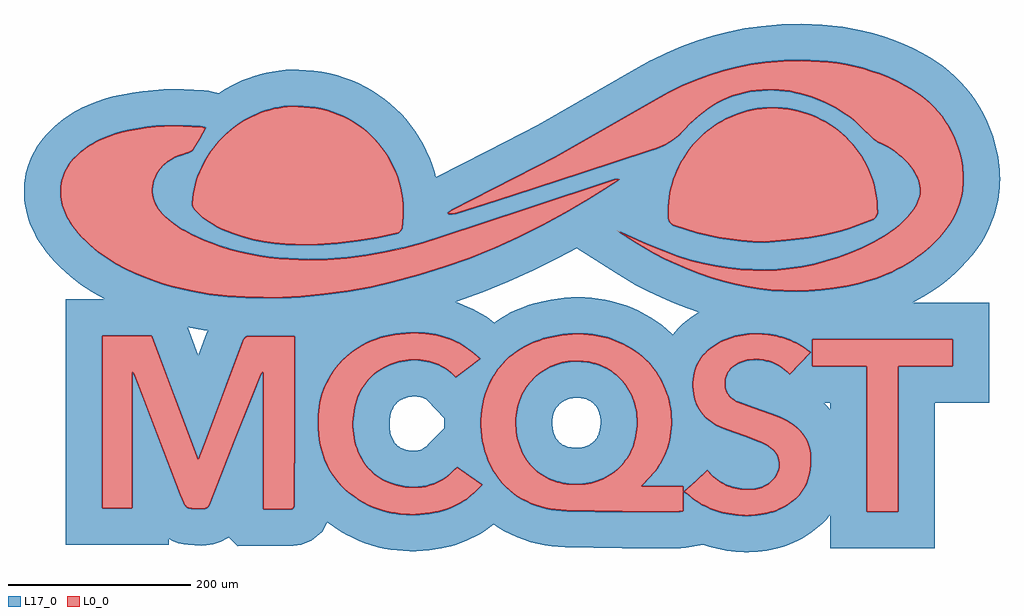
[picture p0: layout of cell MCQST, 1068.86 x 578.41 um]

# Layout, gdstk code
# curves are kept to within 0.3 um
import gdstk
lib = gdstk.Library(unit=1e-6, precision=1e-09)
def P(c, l, *ps):  # polygons
    for p in ps: c.add(gdstk.Polygon(p, *l))
L0_0 = (0, 0)
L17_0 = (17, 0)

mcqst = lib.new_cell('MCQST')
P(mcqst, L0_0, [(388.625,-245.25),(388.625,-85.7),(328.925,-85.7),(328.925,-56.3),(482.725,-56.3),(482.725,-85.45),(423.025,-85.45),(423.025,-245.25)],
  [(-244.875,-242.5),(-272.475,-242.4),(-272.475,-92.5),(-273.625,-92),(-276.275,-97.65),(-331.025,-236.85),(-332.825,-239.55),(-335.175,-241.2),(-340.325,-242),(-350.325,-241.6),(-353.575,-241),(-357.075,-239.05),(-359.675,-235.3),(-413.425,-95),(-416.125,-91.75),(-416.125,-241.15),(-448.725,-241.15),(-448.725,-52.5),(-394.375,-52.5),(-343.725,-188.1),(-293.475,-55.65),(-291.875,-53.95),(-288.425,-52.9),(-237.925,-52.9),(-238.275,-237.3),(-238.875,-240.05),(-240.325,-241.8)],
  [(182.775,-244.95),(121.325,-244.8),(59.875,-243.8),(48.175,-242.9),(31.475,-239.65),(20.975,-236.05),(11.075,-231.25),(6.375,-228.4),(-2.525,-221.65),(-6.725,-217.8),(-14.425,-208.95),(-17.975,-204),(-23.425,-194.6),(-25.775,-189.6),(-29.625,-179.05),(-32.375,-167.95),(-33.925,-156.5),(-34.225,-144.85),(-33.275,-133.1),(-30.975,-121.55),(-29.325,-115.85),(-24.925,-104.8),(-22.175,-99.45),(-17.375,-91.75),(-11.725,-84.45),(-7.775,-80.15),(71.625,-80.15),(64.575,-80.45),(57.775,-81.4),(51.225,-83),(44.975,-85.15),(39.075,-87.85),(33.525,-91.1),(28.375,-94.85),(23.625,-99.05),(15.475,-108.8),(10.725,-117.15),(8.225,-123.15),(6.275,-129.45),(4.975,-136.05),(4.275,-142.95),(4.275,-150.25),(6.025,-164.55),(10.125,-177.4),(14.575,-186),(18.175,-191.2),(22.275,-195.95),(26.825,-200.25),(31.825,-204),(37.275,-207.3),(43.075,-210),(49.275,-212.15),(55.825,-213.75),(62.725,-214.7),(69.925,-215.05),(77.125,-214.75),(87.375,-213.1),(93.775,-211.25),(99.875,-208.85),(108.275,-204.15),(115.775,-198.35),(122.275,-191.45),(127.725,-183.55),(130.675,-177.75),(133.125,-171.6),(135.725,-161.65),(136.725,-154.65),(137.025,-143.75),(135.875,-133.4),(133.375,-123.65),(129.625,-114.7),(126.425,-109.15),(122.775,-104.05),(118.625,-99.35),(111.575,-93.1),(106.375,-89.6),(100.775,-86.6),(94.825,-84.1),(88.575,-82.2),(81.975,-80.9),(71.625,-80.15),(-7.775,-80.15),(-0.325,-73.45),(7.725,-67.65),(16.675,-62.55),(23.225,-59.6),(30.175,-56.95),(41.375,-53.75),(55.225,-51.25),(66.675,-50.2),(77.975,-50.15),(89.075,-51.15),(105.325,-54.75),(110.625,-56.5),(121.025,-60.95),(131.175,-66.6),(139.725,-72.55),(146.425,-78.4),(152.425,-84.8),(160.175,-95.35),(164.475,-102.95),(168.025,-110.9),(171.975,-123.35),(174.275,-136.2),(174.775,-144.85),(174.525,-153.55),(173.475,-162.2),(171.625,-170.7),(167.225,-183.1),(163.225,-191),(158.825,-197.8),(154.275,-203.5),(141.625,-217.35),(187.325,-217.35),(187.325,-244.35)],
  [(255.275,-249.2),(244.575,-248.45),(234.025,-246.7),(227.175,-244.95),(217.275,-241.5),(205.125,-235.4),(187.975,-223.1),(213.975,-199.8),(219.975,-206.05),(226.525,-211.2),(233.575,-215.25),(241.175,-218.2),(249.325,-220),(256.725,-220.65),(265.575,-220.2),(273.975,-217.95),(277.925,-216.05),(283.475,-212.05),(287.125,-208.25),(290.025,-203.7),(291.925,-198.8),(292.675,-193.85),(292.325,-188.9),(290.875,-184.15),(289.775,-181.9),(286.675,-177.75),(282.425,-174.25),(279.375,-172.4),(269.475,-167.65),(227.425,-151.9),(217.425,-146.05),(211.875,-141.35),(207.175,-136),(205.225,-133.05),(203.425,-129.95),(200.675,-123.3),(199.625,-119.65),(198.375,-111.9),(198.375,-99.9),(200.625,-89.15),(204.975,-79.6),(211.375,-71.25),(216.775,-66.35),(223.025,-61.95),(229.225,-58.5),(235.025,-56),(241.025,-53.9),(250.425,-51.6),(256.875,-50.65),(266.725,-50.05),(279.925,-50.8),(292.875,-53.2),(305.225,-57.35),(316.625,-63.1),(326.975,-70.2),(304.325,-94.35),(297.325,-88.3),(291.375,-84.45),(284.925,-81.5),(278.075,-79.45),(271.075,-78.4),(260.525,-78.7),(253.825,-80.15),(247.525,-82.65),(240.425,-87.5),(237.275,-91.1),(235.625,-93.85),(233.975,-98.45),(233.425,-101.95),(233.375,-105.6),(234.175,-110.7),(235.975,-115.15),(237.725,-117.75),(241.075,-121.1),(243.775,-122.95),(265.025,-131.35),(294.725,-142.1),(304.525,-147.45),(312.975,-153.85),(317.675,-158.8),(321.525,-164.35),(323.125,-167.4),(325.575,-174.05),(326.425,-177.65),(327.275,-185.5),(326.725,-198.35),(324.025,-210.05),(318.975,-220.45),(314.325,-226.7),(308.625,-232.3),(305.325,-234.9),(295.125,-241.1),(282.775,-245.8),(269.325,-248.5)],
  [(-111.325,-248.15),(-121.875,-247.55),(-132.225,-246.05),(-142.425,-243.5),(-152.475,-239.85),(-162.275,-235.15),(-172.375,-228.85),(-177.325,-225.2),(-186.175,-217.25),(-193.725,-208.5),(-199.975,-199),(-204.925,-188.7),(-206.925,-183.3),(-209.975,-171.95),(-211.825,-159.95),(-212.425,-148.8),(-212.175,-139.2),(-211.175,-129.85),(-209.325,-120.8),(-206.625,-112),(-203.025,-103.5),(-198.425,-95.3),(-192.875,-87.45),(-185.775,-79.35),(-177.375,-71.7),(-172.975,-68.35),(-163.725,-62.5),(-154.025,-57.8),(-143.825,-54.15),(-133.175,-51.55),(-122.125,-49.85),(-110.725,-49.1),(-94.725,-49.6),(-83.125,-51.3),(-75.525,-53.15),(-68.125,-55.65),(-60.875,-58.75),(-50.375,-64.65),(-34.525,-77.5),(-61.425,-98),(-68.825,-91),(-74.375,-87.2),(-80.375,-84.1),(-89.925,-80.8),(-96.575,-79.45),(-103.375,-78.8),(-113.725,-79.05),(-120.575,-80.1),(-127.325,-81.8),(-133.875,-84.15),(-140.175,-87.15),(-148.975,-92.85),(-156.775,-100),(-163.475,-108.85),(-168.675,-119.3),(-172.175,-130.85),(-173.925,-143.1),(-173.925,-155.6),(-172.025,-168),(-169.675,-175.95),(-166.425,-183.6),(-162.325,-190.75),(-159.925,-194.15),(-154.375,-200.35),(-147.925,-205.8),(-140.525,-210.35),(-132.075,-213.9),(-127.075,-215.45),(-117.275,-217.55),(-107.675,-218.3),(-98.375,-217.7),(-89.325,-215.65),(-80.575,-212.15),(-76.325,-209.8),(-68.125,-203.95),(-60.225,-196.45),(-32.775,-215.3),(-40.975,-223.85),(-49.775,-231.1),(-59.325,-237.05),(-66.075,-240.25),(-76.825,-244),(-84.425,-245.7),(-100.625,-247.8)],
  [(-271.725,-10.75),(-291.875,-10.3),(-311.925,-9),(-331.825,-6.65),(-351.625,-3.25),(-361.525,-1.05),(-371.325,1.45),(-390.875,7.45),(-412.975,16.1),(-423.625,21.15),(-438.975,29.75),(-448.775,36.3),(-458.125,43.5),(-471.275,55.75),(-479.025,64.75),(-484.025,72),(-488.225,79.65),(-491.425,87.85),(-493.575,96.65),(-494.425,104.05),(-494.225,111.1),(-492.225,121),(-488.275,130.15),(-484.625,135.85),(-480.275,141.3),(-472.225,149.15),(-462.675,156.2),(-455.975,160.1),(-448.975,163.5),(-434.375,168.85),(-426.825,170.95),(-409.425,174.55),(-389.975,176.9),(-380.175,177.5),(-360.625,177.6),(-340.975,176.6),(-335.175,175.35),(-342.025,163.3),(-349.025,151.85),(-350.425,150.3),(-354.575,148.1),(-365.125,144.75),(-372.825,141.15),(-381.325,134.8),(-387.775,126.95),(-389.525,123.95),(-392.075,117.8),(-393.525,111.45),(-393.775,108.3),(-393.425,101.95),(-392.775,98.8),(-391.875,95.7),(-389.175,89.75),(-387.425,86.9),(-382.975,81.45),(-374.175,73.45),(-367.925,68.75),(-358.075,62.5),(-351.175,58.8),(-336.975,52.35),(-319.325,45.75),(-298.325,39.75),(-276.975,35.5),(-255.275,32.7),(-244.325,31.8),(-222.875,31),(-201.575,31.45),(-180.525,33.1),(-159.575,35.85),(-138.825,39.6),(-118.175,44.3),(-97.675,49.8),(-77.275,56.05),(111.475,118.45),(114.475,119.25),(117.925,119.15),(83.675,97.2),(58.475,82.35),(32.875,68.5),(6.825,55.6),(-19.625,43.7),(-46.475,32.85),(-73.825,23.05),(-101.575,14.35),(-129.825,6.75),(-154.925,1.05),(-180.125,-3.6),(-205.575,-7.1),(-231.225,-9.4),(-251.525,-10.4)],
  [(276.025,50.05),(251.025,51.75),(226.375,55.25),(202.125,60.7),(190.125,64.2),(178.275,68.2),(174.925,69.8),(172.775,71.9),(171.525,74.7),(170.925,83.7),(172.075,99.35),(175.275,114.3),(178.525,123.9),(182.525,133.05),(187.325,141.8),(195.875,154),(202.425,161.5),(213.325,171.6),(221.275,177.5),(229.725,182.75),(238.625,187.25),(252.675,192.55),(262.525,195),(274.025,196.8),(285.475,197.4),(296.725,196.9),(307.775,195.3),(318.525,192.65),(333.925,186.85),(343.625,181.8),(352.825,175.9),(361.425,169.1),(369.325,161.5),(379.825,148.7),(388.425,134.35),(394.925,118.55),(397.975,107.25),(399.075,101.15),(400.225,88.8),(400.475,82.55),(400.075,80.6),(398.325,77.55),(396.725,76),(387.375,71.85),(369.975,65.45),(352.175,60.35),(343.175,58.25),(324.875,55.05)],
  [(-224.925,47.3),(-248.575,48.05),(-260.275,49.15),(-271.875,50.85),(-283.425,53.1),(-294.875,56.05),(-306.275,59.7),(-323.175,67.1),(-333.625,73.45),(-340.825,79.15),(-347.475,85.75),(-348.625,87.3),(-350.025,91.15),(-349.725,98.1),(-348.075,108.15),(-345.525,117.95),(-342.075,127.45),(-335.325,141),(-329.875,149.5),(-323.725,157.5),(-316.925,164.95),(-309.525,171.85),(-297.425,180.9),(-288.775,186.05),(-279.725,190.45),(-265.425,195.45),(-255.525,197.65),(-245.425,198.9),(-227.925,198.75),(-221.375,198.2),(-214.975,197.35),(-202.525,194.55),(-190.625,190.5),(-179.425,185.2),(-168.925,178.85),(-163.975,175.25),(-154.725,167.35),(-146.325,158.55),(-138.925,148.9),(-132.575,138.5),(-127.325,127.45),(-123.275,115.85),(-120.475,103.75),(-119.575,97.55),(-118.825,84.85),(-119.475,71.9),(-120.375,65.3),(-121.675,62.8),(-124.075,60.6),(-125.775,59.85),(-147.375,55.2),(-169.075,51.55),(-190.975,48.95),(-213.025,47.55)],
  [(311.125,-3.35),(297.575,-3.1),(270.825,-0.75),(257.575,1.35),(244.425,4.05),(218.475,11.1),(192.875,20.35),(167.675,31.75),(155.225,38.25),(134.925,50.25),(115.325,62.6),(148.075,47.95),(181.425,34.8),(195.175,30.6),(208.925,27.1),(222.675,24.25),(236.325,22.1),(249.975,20.6),(263.525,19.8),(277.075,19.65),(290.575,20.25),(304.025,21.5),(317.425,23.5),(330.775,26.2),(344.025,29.6),(357.275,33.75),(370.425,38.6),(383.525,44.2),(396.575,50.6),(408.125,57.15),(418.975,64.7),(428.975,73.4),(437.875,83.4),(443.325,91.95),(446.425,100.4),(447.125,106.05),(446.175,114.65),(442.825,123.4),(437.425,132.1),(431.225,139.3),(424.325,145.65),(411.375,154.45),(397.625,161.75),(375.275,182.95),(364.625,190.95),(349.175,200.15),(338.525,205.25),(321.975,211.25),(310.575,214.1),(292.875,216.6),(280.675,217),(273.875,216.75),(267.175,216.15),(254.275,213.95),(242.025,210.4),(230.325,205.55),(219.225,199.5),(213.925,196),(203.725,188.15),(198.875,183.8),(181.375,166.15),(172.475,159.8),(162.775,154.8),(152.025,150.85),(-29.525,91.5),(-62.825,81.5),(-69.525,80.55),(-70.175,82.35),(-65.275,85.75),(47.725,143.55),(157.775,206.7),(171.875,214.4),(186.175,221.4),(200.725,227.7),(215.525,233.2),(230.575,237.95),(245.925,241.85),(261.575,244.9),(277.475,247.05),(297.425,248.7),(317.225,249.2),(336.775,248.5),(356.175,246.45),(375.275,242.9),(384.725,240.5),(403.425,234.4),(421.775,226.45),(430.825,221.75),(442.525,214.6),(453.125,206.6),(462.625,197.75),(470.975,188),(478.125,177.4),(484.075,165.9),(488.825,153.45),(492.275,140.15),(493.875,129.65),(494.425,119.55),(493.475,106.6),(491.575,97.35),(488.725,88.35),(483.525,76.95),(476.725,66.1),(468.425,55.75),(458.775,46),(448.725,37.45),(438.125,29.9),(427.125,23.25),(415.675,17.5),(403.825,12.55),(391.675,8.4),(379.175,4.9),(352.375,-0.25),(324.775,-2.95)])
P(mcqst, L17_0, [(69.925,-215.05),(62.725,-214.7),(55.825,-213.75),(49.275,-212.15),(43.075,-210),(37.275,-207.3),(31.825,-204),(26.825,-200.25),(22.275,-195.95),(18.175,-191.2),(14.575,-186),(11.475,-180.35),(8.875,-174.35),(6.825,-167.9),(5.375,-161.1),(4.475,-153.95),(4.175,-146.45),(4.525,-139.45),(5.575,-132.75),(7.175,-126.25),(9.402,-120.158),(71.331,-120.158),(63.947,-120.974),(57.346,-123.446),(52.443,-126.867),(48.084,-132.082),(45.395,-138.098),(44.235,-144.932),(44.856,-154.613),(46.436,-160.521),(49.212,-165.863),(52.793,-169.795),(58.219,-172.961),(63.456,-174.464),(71.887,-175.02),(78.227,-174.147),(84.157,-171.987),(89.604,-168.032),(93.196,-163.317),(95.714,-157.168),(96.901,-150.743),(96.939,-143.967),(95.812,-137.668),(93.423,-131.893),(89.844,-127.151),(85.511,-123.739),(78.874,-121.029),(73.117,-120.209),(9.402,-120.158),(13.775,-111.5),(19.325,-103.75),(25.925,-96.9),(33.525,-91.1),(41.975,-86.45),(51.225,-83),(61.125,-80.85),(71.625,-80.15),(78.575,-80.5),(85.325,-81.5),(97.875,-85.25),(103.625,-88),(109.025,-91.3),(114.025,-95.05),(118.625,-99.35),(122.775,-104.05),(126.425,-109.15),(129.625,-114.7),(132.225,-120.6),(134.325,-126.85),(135.875,-133.4),(136.775,-140.25),(137.075,-147.35),(136.725,-154.65),(135.725,-161.65),(134.125,-168.35),(131.975,-174.7),(129.275,-180.7),(126.025,-186.25),(122.275,-191.45),(118.075,-196.15),(113.375,-200.4),(108.275,-204.15),(102.775,-207.4),(96.875,-210.15),(90.625,-212.25),(84.025,-213.8),(77.125,-214.75)],
  [(254.43,-289.2),(240.088,-288.202),(230.269,-286.741),(220.67,-284.664),(209.275,-281.189),(190.15,-284.444),(184.541,-284.954),(120.951,-284.8),(58.533,-283.784),(43.311,-282.61),(35.862,-281.556),(20.712,-278.192),(5.729,-273.052),(-8.549,-266.13),(-20.112,-258.674),(-31.051,-266.73),(-40.577,-272.404),(-55.578,-279.133),(-66.379,-282.629),(-77.094,-285.032),(-90.84,-287.06),(-104.723,-288.032),(-118.9,-287.892),(-125.876,-287.361),(-139.846,-285.334),(-154.158,-281.756),(-161.13,-279.408),(-174.667,-273.732),(-181.456,-270.269),(-195.281,-261.658),(-202.268,-256.494),(-208.016,-266.944),(-219.705,-276.684),(-230.783,-281.02),(-239.665,-282.5),(-300.517,-282.599),(-310.266,-272.919),(-318.933,-277.95),(-327.368,-280.762),(-334.941,-281.876),(-347.653,-281.82),(-359.464,-280.7),(-365.355,-279.326),(-371.989,-276.774),(-376.125,-274.436),(-376.125,-281.15),(-488.725,-281.15),(-488.725,-52.5),(-448.725,-52.5),(-448.725,-241.15),(-416.125,-241.15),(-416.125,-91.75),(-413.425,-95),(-359.675,-235.3),(-357.075,-239.05),(-353.575,-241),(-350.325,-241.6),(-340.325,-242),(-335.175,-241.2),(-332.825,-239.55),(-331.025,-236.85),(-276.275,-97.65),(-273.625,-92),(-272.475,-92.5),(-272.475,-242.4),(-242.975,-242.5),(-240.325,-241.8),(-239.425,-241.05),(-238.475,-238.8),(-238.225,-235.55),(-237.925,-60.8),(-237.925,-52.9),(-286.925,-52.85),(-289.725,-53.05),(-292.725,-54.7),(-294.725,-58.25),(-343.725,-188.1),(-394.375,-52.5),(-488.725,-52.5),(-488.725,-43.231),(-355.14,-43.231),(-343.516,-74.39),(-334.016,-49.1),(-110.725,-49.1),(-122.125,-49.85),(-133.175,-51.55),(-148.975,-55.85),(-158.925,-60),(-168.425,-65.3),(-177.375,-71.7),(-181.625,-75.4),(-189.725,-83.65),(-195.775,-91.35),(-200.825,-99.35),(-204.925,-107.7),(-208.075,-116.35),(-210.325,-125.3),(-211.775,-134.5),(-212.425,-143.95),(-212.275,-153.65),(-211.025,-166.05),(-209.975,-171.95),(-206.925,-183.3),(-204.925,-188.7),(-199.975,-199),(-193.725,-208.5),(-186.175,-217.25),(-177.325,-225.2),(-172.375,-228.85),(-162.275,-235.15),(-152.475,-239.85),(-142.425,-243.5),(-132.225,-246.05),(-121.875,-247.55),(-111.325,-248.15),(-100.625,-247.8),(-84.425,-245.7),(-76.825,-244),(-66.075,-240.25),(-59.325,-237.05),(-49.775,-231.1),(-40.975,-223.85),(-32.775,-215.3),(-60.225,-196.45),(-68.125,-203.95),(-76.325,-209.8),(-80.575,-212.15),(-89.325,-215.65),(-93.775,-216.85),(-102.975,-218.2),(-112.425,-218.1),(-117.275,-217.55),(-127.075,-215.45),(-132.075,-213.9),(-140.525,-210.35),(-144.325,-208.2),(-151.275,-203.2),(-154.375,-200.35),(-159.925,-194.15),(-166.425,-183.6),(-169.675,-175.95),(-172.875,-163.9),(-174.125,-151.4),(-173.575,-138.95),(-171.175,-126.9),(-168.424,-118.717),(-106.825,-118.717),(-112.765,-119.342),(-117.118,-120.529),(-122.254,-122.97),(-125.445,-125.274),(-128.714,-128.819),(-130.837,-132.57),(-133.548,-141.712),(-134.125,-148.219),(-133.787,-154.717),(-132.555,-160.675),(-130.619,-165.736),(-128.134,-169.824),(-125.433,-172.623),(-122.233,-174.74),(-116.443,-176.868),(-109.305,-178.196),(-104.183,-178.096),(-98.482,-176.343),(-93.586,-173.066),(-74.129,-153.599),(-74.174,-142.838),(-92.853,-123.035),(-95.694,-121.107),(-99.983,-119.535),(-106.825,-118.717),(-168.424,-118.717),(-163.475,-108.85),(-156.775,-100),(-151.675,-95.05),(-146.125,-90.8),(-140.175,-87.15),(-133.875,-84.15),(-127.325,-81.8),(-120.575,-80.1),(-113.725,-79.05),(-106.825,-78.7),(-99.975,-79.05),(-93.225,-80.05),(-86.675,-81.75),(-80.375,-84.1),(-74.375,-87.2),(-68.825,-91),(-61.425,-98),(-34.525,-77.5),(-50.375,-64.65),(-60.875,-58.75),(-68.125,-55.65),(-75.525,-53.15),(-90.5,-50.05),(72.325,-50.05),(55.225,-51.25),(41.375,-53.75),(30.175,-56.95),(16.675,-62.55),(4.925,-69.55),(-5.175,-77.65),(-13.675,-86.85),(-20.675,-96.8),(-27.275,-110.25),(-30.975,-121.55),(-33.275,-133.1),(-33.925,-138.95),(-34.225,-150.7),(-33.925,-156.5),(-32.375,-167.95),(-29.625,-179.05),(-25.775,-189.6),(-23.425,-194.6),(-17.975,-204),(-14.425,-208.95),(-6.725,-217.8),(1.825,-225.2),(11.075,-231.25),(20.975,-236.05),(31.475,-239.65),(42.525,-242.1),(53.975,-243.5),(121.325,-244.8),(182.775,-244.95),(187.325,-244.35),(187.325,-217.35),(141.625,-217.35),(154.275,-203.5),(160.875,-194.85),(167.225,-183.1),(170.325,-174.9),(173.475,-162.2),(174.775,-149.2),(174.275,-136.2),(171.975,-123.35),(168.025,-110.9),(162.425,-99.1),(155.175,-88.2),(146.425,-78.4),(136.125,-69.9),(126.125,-63.6),(110.625,-56.5),(99.975,-53.3),(89.075,-51.15),(72.325,-50.05),(-90.5,-50.05),(-102.675,-49.1),(-334.016,-49.1),(-333.142,-46.772),(-355.14,-43.231),(-488.725,-43.231),(-488.725,-12.5),(-445.489,-12.5),(-460.129,-4.205),(-472.095,3.792),(-483.687,12.722),(-494.803,22.71),(-500.317,28.224),(-510.733,40.33),(-518.081,51.014),(-524.548,62.854),(-529.543,75.688),(-532.043,85.031),(-533.887,95.854),(-534.425,108.808),(-534.073,114.885),(-532.073,127.057),(-528.356,138.863),(-523.389,149.345),(-520.293,154.628),(-513.799,163.618),(-506.397,171.906),(-500.408,177.6),(-360.625,177.6),(-380.175,177.5),(-389.975,176.9),(-409.425,174.55),(-426.825,170.95),(-434.375,168.85),(-448.975,163.5),(-455.975,160.1),(-462.675,156.2),(-472.225,149.15),(-480.275,141.3),(-484.625,135.85),(-488.275,130.15),(-492.225,121),(-493.775,114.5),(-494.425,107.65),(-494.125,100.4),(-492.275,90.75),(-489.375,82.35),(-485.525,74.5),(-482.475,69.55),(-475.275,60.2),(-467.025,51.5),(-458.125,43.5),(-448.775,36.3),(-438.975,29.75),(-423.625,21.15),(-412.975,16.1),(-390.875,7.45),(-371.325,1.45),(-361.525,-1.05),(-351.625,-3.25),(-331.825,-6.65),(-311.925,-9),(-291.875,-10.3),(-271.725,-10.75),(-251.525,-10.4),(-231.225,-9.4),(-205.575,-7.1),(-180.125,-3.6),(-154.925,1.05),(-129.825,6.75),(-101.575,14.35),(-73.825,23.05),(-46.475,32.85),(-20.209,43.464),(70.662,43.464),(51.273,32.974),(23.912,19.426),(-3.919,6.904),(-32.229,-4.536),(-62.485,-15.315),(-48.748,-20.307),(-38.539,-25.228),(-27.548,-31.744),(-19.561,-37.888),(-13.854,-33.953),(-1.116,-26.707),(12.365,-20.874),(22.473,-17.419),(32.142,-14.81),(50.077,-11.578),(64.742,-10.238),(79.767,-10.176),(94.666,-11.522),(109.512,-14.442),(124.337,-18.904),(131.614,-21.814),(145.577,-28.63),(152.499,-32.742),(164.338,-40.999),(175.923,-51.33),(176.906,-50.05),(266.725,-50.05),(253.625,-51.1),(241.025,-53.9),(229.225,-58.5),(219.775,-64.1),(211.375,-71.25),(204.975,-79.6),(201.825,-85.85),(198.875,-96.2),(198.125,-103.8),(198.375,-111.9),(199.625,-119.65),(200.675,-123.3),(203.425,-129.95),(205.225,-133.05),(207.175,-136),(211.875,-141.35),(217.425,-146.05),(227.425,-151.9),(269.475,-167.65),(279.375,-172.4),(284.675,-175.95),(288.325,-179.75),(290.875,-184.15),(292.325,-188.9),(292.675,-193.85),(291.925,-198.8),(288.725,-206),(285.225,-210.35),(281.675,-213.55),(277.925,-216.05),(271.925,-218.7),(265.575,-220.2),(256.725,-220.65),(249.325,-220),(241.175,-218.2),(233.575,-215.25),(226.525,-211.2),(219.975,-206.05),(213.975,-199.8),(187.975,-223.1),(193.225,-226.5),(202.325,-233.6),(208.025,-237.1),(217.275,-241.5),(230.575,-245.9),(244.575,-248.45),(258.825,-249.2),(272.775,-248),(285.975,-244.85),(292.175,-242.5),(297.975,-239.65),(308.625,-232.3),(314.325,-226.7),(320.925,-217.1),(324.025,-210.05),(326.075,-202.4),(327.175,-194.2),(327.275,-185.5),(326.425,-177.65),(324.475,-170.65),(321.525,-164.35),(317.675,-158.8),(310.325,-151.55),(304.525,-147.45),(298.125,-143.75),(289.125,-139.8),(250.122,-125.7),(341.399,-125.7),(348.625,-133.42),(348.625,-125.7),(250.122,-125.7),(243.775,-122.95),(241.075,-121.1),(237.725,-117.75),(235.975,-115.15),(234.175,-110.7),(233.325,-103.8),(233.625,-100.15),(234.975,-95.3),(237.275,-91.1),(240.425,-87.5),(247.525,-82.65),(253.825,-80.15),(260.525,-78.7),(267.525,-78.25),(274.575,-78.8),(284.925,-81.5),(294.425,-86.25),(304.325,-94.35),(326.975,-70.2),(313.875,-61.5),(302.6,-56.3),(328.925,-56.3),(328.925,-85.7),(388.625,-85.7),(388.625,-245.25),(423.025,-245.25),(423.025,-85.45),(482.725,-85.45),(482.725,-56.3),(302.6,-56.3),(289.675,-52.45),(279.925,-50.8),(273.325,-50.2),(176.906,-50.05),(182.504,-43.52),(191.734,-35.131),(204.561,-26.419),(177.781,-16.702),(149.845,-4.064),(135.777,3.28),(114.081,16.106),(70.662,43.464),(-20.209,43.464),(6.825,55.6),(32.875,68.5),(58.475,82.35),(83.675,97.2),(117.925,119.15),(114.475,119.25),(111.475,118.45),(-77.275,56.05),(-97.675,49.8),(-118.175,44.3),(-138.825,39.6),(-159.575,35.85),(-180.525,33.1),(-201.575,31.45),(-222.875,31),(-244.325,31.8),(-255.275,32.7),(-276.975,35.5),(-298.325,39.75),(-319.325,45.75),(-336.975,52.35),(-351.175,58.8),(-358.075,62.5),(-367.925,68.75),(-374.175,73.45),(-382.975,81.45),(-387.425,86.9),(-389.175,89.75),(-391.875,95.7),(-392.775,98.8),(-393.425,101.95),(-393.775,108.3),(-393.525,111.45),(-392.075,117.8),(-389.525,123.95),(-387.775,126.95),(-381.325,134.8),(-372.825,141.15),(-365.125,144.75),(-354.575,148.1),(-350.425,150.3),(-349.025,151.85),(-342.025,163.3),(-335.175,175.35),(-340.975,176.6),(-360.625,177.6),(-500.408,177.6),(-493.531,183.354),(-484.266,189.888),(-474.787,195.41),(-467.498,199),(-239.975,199),(-250.525,198.4),(-260.525,196.65),(-270.275,194),(-279.725,190.45),(-293.175,183.6),(-301.625,178.05),(-309.525,171.85),(-316.925,164.95),(-323.725,157.5),(-329.875,149.5),(-337.775,136.6),(-342.075,127.45),(-345.525,117.95),(-348.075,108.15),(-350.175,93),(-349.475,89.15),(-347.475,85.75),(-338.475,77.15),(-331.075,71.75),(-323.175,67.1),(-306.275,59.7),(-294.875,56.05),(-283.425,53.1),(-260.275,49.15),(-236.775,47.45),(-213.025,47.55),(-190.975,48.95),(-169.075,51.55),(-147.375,55.2),(-125.775,59.85),(-123.225,61.25),(-120.625,64.5),(-119.475,71.9),(-118.975,78.4),(-119.025,91.25),(-120.475,103.75),(-123.275,115.85),(-127.325,127.45),(-129.825,133.05),(-135.625,143.8),(-138.925,148.9),(-146.325,158.55),(-154.725,167.35),(-159.225,171.4),(-168.925,178.85),(-174.075,182.15),(-179.425,185.2),(-190.625,190.5),(-202.525,194.55),(-214.975,197.35),(-227.925,198.75),(-467.498,199),(-455.546,203.918),(-446.145,207.094),(-427.306,211.86),(-404.525,215.672),(-393.137,216.782),(-381.501,217.494),(-359.711,217.606),(-337.391,216.47),(-332.302,215.812),(-321.241,213.078),(-307.612,221.344),(-295.445,227.25),(-289.093,229.75),(-275.917,234.062),(-262.419,237.064),(-255.446,238.11),(-247.746,238.864),(-225.794,238.712),(-208.443,236.834),(-199.889,235.136),(-191.636,233.056),(-175.617,227.6),(-160.499,220.454),(-146.351,211.892),(-139.602,206.984),(-127.189,196.382),(-115.893,184.54),(-105.987,171.627),(-101.475,164.654),(-97.358,157.499),(-90.317,142.676),(-87.401,134.947),(-83.398,121.41),(28.659,178.728),(152.143,249.2),(317.225,249.2),(297.425,248.7),(277.475,247.05),(261.575,244.9),(245.925,241.85),(230.575,237.95),(215.525,233.2),(200.725,227.7),(186.175,221.4),(171.875,214.4),(157.775,206.7),(47.725,143.55),(-65.275,85.75),(-70.175,82.35),(-69.525,80.55),(-62.825,81.5),(-29.525,91.5),(157.575,152.7),(167.775,157.15),(174.775,161.25),(179.225,164.45),(185.575,170),(194.175,179.15),(203.725,188.15),(216.045,197.4),(285.475,197.4),(274.025,196.8),(262.525,195),(252.675,192.55),(238.625,187.25),(229.725,182.75),(217.225,174.65),(209.525,168.35),(199.075,157.8),(190.025,146),(184.875,137.5),(180.425,128.5),(175.275,114.3),(172.075,99.35),(171.025,88.95),(171.175,76.45),(172.775,71.9),(174.925,69.8),(178.275,68.2),(190.125,64.2),(214.175,57.7),(238.625,53.25),(251.025,51.75),(276.025,50.05),(324.875,55.05),(334.075,56.5),(352.175,60.35),(369.975,65.45),(387.375,71.85),(395.925,75.5),(397.575,76.7),(399.625,79.55),(400.375,81.65),(399.825,95),(398.575,104.25),(396.575,112.95),(393.025,123.95),(388.425,134.35),(382.875,144.1),(376.525,153.15),(369.325,161.5),(361.425,169.1),(348.275,178.95),(333.925,186.85),(318.525,192.65),(307.775,195.3),(291.125,197.3),(216.045,197.4),(224.725,202.65),(236.075,208.15),(248.075,212.3),(260.675,215.2),(273.875,216.75),(286.825,216.9),(298.825,216),(310.575,214.1),(321.975,211.25),(338.525,205.25),(349.175,200.15),(364.625,190.95),(375.275,182.95),(397.625,161.75),(411.375,154.45),(424.325,145.65),(431.225,139.3),(437.425,132.1),(442.825,123.4),(446.175,114.65),(447.075,108.9),(446.425,100.4),(443.325,91.95),(437.875,83.4),(428.975,73.4),(418.975,64.7),(408.125,57.15),(396.575,50.6),(383.525,44.2),(370.425,38.6),(357.275,33.75),(344.025,29.6),(330.775,26.2),(317.425,23.5),(304.025,21.5),(290.575,20.25),(277.075,19.65),(263.525,19.8),(249.975,20.6),(236.325,22.1),(222.675,24.25),(208.925,27.1),(195.175,30.6),(181.425,34.8),(148.075,47.95),(115.325,62.6),(134.925,50.25),(155.225,38.25),(167.675,31.75),(192.875,20.35),(205.625,15.45),(231.425,7.3),(257.575,1.35),(270.825,-0.75),(284.125,-2.2),(297.575,-3.1),(311.125,-3.35),(324.775,-2.95),(338.525,-1.9),(352.375,-0.25),(379.175,4.9),(391.675,8.4),(403.825,12.55),(421.425,20.3),(438.125,29.9),(453.825,41.6),(463.775,50.8),(468.425,55.75),(476.725,66.1),(480.325,71.45),(484.975,79.75),(487.575,85.45),(490.775,94.3),(493.475,106.6),(494.175,113),(494.375,122.9),(493.475,133.1),(492.275,140.15),(490.725,146.9),(486.625,159.8),(481.275,171.75),(478.125,177.4),(470.975,188),(462.625,197.75),(453.125,206.6),(442.525,214.6),(430.825,221.75),(421.775,226.45),(403.425,234.4),(384.725,240.5),(365.725,244.85),(346.525,247.65),(327.025,249.05),(152.143,249.2),(169.426,257.736),(185.801,264.826),(202.53,271.044),(219.621,276.438),(237.167,280.896),(255.063,284.384),(273.144,286.828),(295.269,288.658),(317.027,289.208),(339.638,288.402),(361.951,286.04),(384.205,281.902),(395.457,279.044),(417.581,271.826),(439.346,262.398),(450.022,256.853),(457.699,252.438),(472.087,242.632),(485.306,231.577),(491.539,225.413),(502.844,212.207),(512.479,197.926),(516.818,190.141),(524.011,174.076),(529.457,156.956),(532.362,143.306),(533.671,133.714),(534.357,124.392),(534.297,114.721),(533.643,105.451),(532.316,96.209),(527.656,78.268),(522.723,66.001),(518.593,57.684),(509.323,42.894),(498.235,29.062),(492.221,22.66),(479.748,11.125),(473.288,5.867),(460.1,-3.53),(446.317,-11.857),(437.628,-16.3),(522.725,-16.3),(522.725,-125.45),(463.025,-125.45),(463.025,-285.25),(348.625,-285.25),(348.625,-247.872),(339.693,-258.084),(329.086,-267.103),(317.427,-274.633),(308.092,-279.222),(298.538,-282.846),(284.087,-286.622),(269.299,-288.708)])
mcqst.add(gdstk.FlexPath([(328.925,-56.3),(328.925,-56.3)], 0, ends="flush", simple_path=True, layer=0, datatype=0))  # L0_0

lib.write_gds('MCQST.gds')
